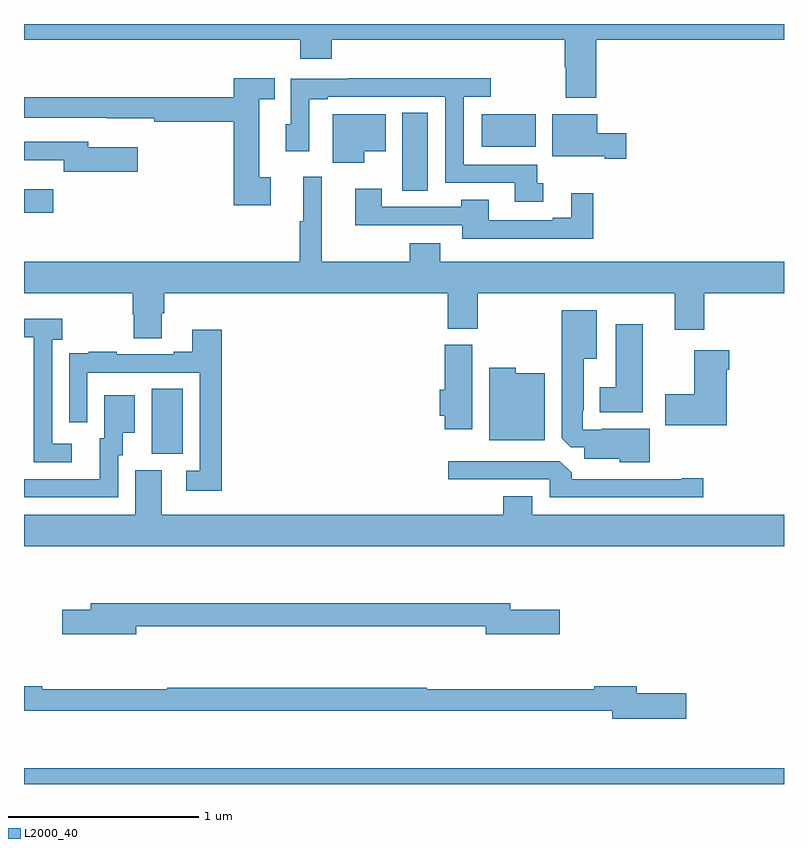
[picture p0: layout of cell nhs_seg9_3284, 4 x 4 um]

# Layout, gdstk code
import gdstk
lib = gdstk.Library(unit=1e-6, precision=1e-09)
def R(c, l, rs):  # rectangles x0, y0, x1, y1
    for r in rs: c.add(gdstk.rectangle(r[:2], r[2:], *l))
def P(c, l, *ps):  # polygons
    for p in ps: c.add(gdstk.Polygon(p, *l))
L2000_40 = (2000, 40)

nhs_seg9_3284 = lib.new_cell('nhs_seg9_3284')
R(nhs_seg9_3284, L2000_40, [(299,1196.5,303,1196.584), (299.672,1198.237,299.836,1198.58), (299,1199.507,299.155,1199.629), (300.992,1199.623,301.126,1200.032), (301.409,1199.855,301.693,1200.025)])
P(nhs_seg9_3284, L2000_40, [(302.012,1200.416),(303,1200.416),(303,1200.5),(299,1200.5),(299,1200.416),(300.455,1200.416),(300.455,1200.317),(300.62,1200.317),(300.62,1200.416),(301.847,1200.416),(301.847,1200.272),(301.852,1200.272),(301.852,1200.111),(302.012,1200.111)],
  [(300.298,1199.694),(300.238,1199.694),(300.238,1200.105),(300.32,1200.105),(300.32,1200.215),(300.104,1200.215),(300.104,1200.115),(299,1200.115),(299,1200.006),(299.434,1200.006),(299.434,1200.005),(299.686,1200.005),(299.686,1199.986),(300.104,1199.986),(300.104,1199.546),(300.298,1199.546)],
  [(301.732,1199.663),(301.7,1199.663),(301.7,1199.76),(301.314,1199.76),(301.314,1200.117),(301.456,1200.117),(301.456,1200.215),(300.703,1200.215),(300.703,1200.213),(300.405,1200.213),(300.405,1199.973),(300.377,1199.973),(300.377,1199.829),(300.501,1199.829),(300.501,1200.105),(300.598,1200.105),(300.598,1200.117),(301.218,1200.117),(301.218,1199.664),(301.583,1199.664),(301.583,1199.565),(301.732,1199.565)],
  [(300.79,1199.831),(300.904,1199.831),(300.904,1200.025),(300.626,1200.025),(300.626,1199.771),(300.79,1199.771)],
  [(302.17,1199.926),(302.017,1199.926),(302.017,1200.025),(301.781,1200.025),(301.781,1199.804),(302.057,1199.804),(302.057,1199.792),(302.17,1199.792)],
  [(299.599,1199.851),(299.338,1199.851),(299.338,1199.88),(299,1199.88),(299,1199.783),(299.21,1199.783),(299.21,1199.722),(299.599,1199.722)],
  [(299.725,1198.978),(299.738,1198.978),(299.738,1199.084),(301.229,1199.084),(301.229,1198.897),(301.389,1198.897),(301.389,1199.084),(302.426,1199.084),(302.426,1198.89),(302.579,1198.89),(302.579,1199.084),(303,1199.084),(303,1199.248),(301.19,1199.248),(301.19,1199.347),(301.03,1199.347),(301.03,1199.248),(300.568,1199.248),(300.568,1199.695),(300.47,1199.695),(300.47,1199.463),(300.451,1199.463),(300.451,1199.248),(299,1199.248),(299,1199.084),(299.573,1199.084),(299.573,1198.971),(299.578,1198.971),(299.578,1198.846),(299.725,1198.846)],
  [(301.997,1199.608),(301.88,1199.608),(301.88,1199.479),(301.784,1199.479),(301.784,1199.466),(301.447,1199.466),(301.447,1199.575),(301.3,1199.575),(301.3,1199.538),(300.883,1199.538),(300.883,1199.632),(300.743,1199.632),(300.743,1199.442),(301.307,1199.442),(301.307,1199.37),(301.997,1199.37)],
  [(302.293,1198.369),(302.041,1198.369),(302.041,1198.365),(301.941,1198.365),(301.941,1198.465),(301.945,1198.465),(301.945,1198.739),(302.014,1198.739),(302.014,1198.993),(301.829,1198.993),(301.829,1198.321),(301.878,1198.272),(301.949,1198.272),(301.949,1198.211),(302.136,1198.211),(302.136,1198.193),(302.293,1198.193)],
  [(299.251,1198.29),(299.148,1198.29),(299.148,1198.838),(299.2,1198.838),(299.2,1198.948),(299,1198.948),(299,1198.851),(299.051,1198.851),(299.051,1198.651),(299.052,1198.651),(299.052,1198.194),(299.251,1198.194)],
  [(302.257,1198.921),(302.114,1198.921),(302.114,1198.588),(302.03,1198.588),(302.03,1198.457),(302.257,1198.457)],
  [(300.041,1198.891),(299.885,1198.891),(299.885,1198.774),(299.789,1198.774),(299.789,1198.761),(299.489,1198.761),(299.489,1198.774),(299.341,1198.774),(299.341,1198.767),(299.239,1198.767),(299.239,1198.658),(299.238,1198.658),(299.238,1198.404),(299.334,1198.404),(299.334,1198.665),(299.925,1198.665),(299.925,1198.149),(299.853,1198.149),(299.853,1198.044),(300.041,1198.044)],
  [(301.36,1198.812),(301.214,1198.812),(301.214,1198.574),(301.187,1198.574),(301.187,1198.439),(301.214,1198.439),(301.214,1198.368),(301.36,1198.368)],
  [(302.698,1198.679),(302.711,1198.679),(302.711,1198.783),(302.528,1198.783),(302.528,1198.551),(302.376,1198.551),(302.376,1198.388),(302.698,1198.388)],
  [(301.741,1198.663),(301.587,1198.663),(301.587,1198.69),(301.448,1198.69),(301.448,1198.31),(301.741,1198.31)],
  [(299.496,1198.23),(299.521,1198.23),(299.521,1198.349),(299.584,1198.349),(299.584,1198.546),(299.423,1198.546),(299.423,1198.32),(299.399,1198.32),(299.399,1198.104),(299,1198.104),(299,1198.008),(299.496,1198.008)],
  [(302.575,1198.109),(302.462,1198.109),(302.462,1198.104),(301.883,1198.104),(301.883,1198.138),(301.821,1198.2),(301.233,1198.2),(301.233,1198.104),(301.767,1198.104),(301.767,1198.008),(302.575,1198.008)],
  [(301.523,1198.015),(301.523,1197.916),(299.725,1197.916),(299.725,1198.152),(299.585,1198.152),(299.585,1197.916),(299,1197.916),(299,1197.752),(303,1197.752),(303,1197.916),(301.675,1197.916),(301.675,1198.015)],
  [(299.59,1197.33),(301.43,1197.33),(301.43,1197.287),(301.819,1197.287),(301.819,1197.417),(301.558,1197.417),(301.558,1197.451),(299.351,1197.451),(299.351,1197.417),(299.202,1197.417),(299.202,1197.287),(299.59,1197.287)],
  [(302.485,1196.978),(302.224,1196.978),(302.224,1197.014),(302,1197.014),(302,1196.999),(301.12,1196.999),(301.12,1197.007),(299.755,1197.007),(299.755,1196.999),(299.095,1196.999),(299.095,1197.014),(299,1197.014),(299,1196.886),(302.096,1196.886),(302.096,1196.843),(302.485,1196.843)])

lib.write_gds('nhs_seg9_3284.gds')
